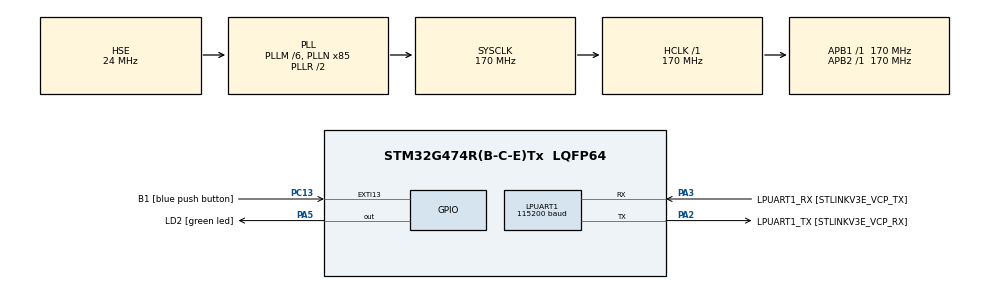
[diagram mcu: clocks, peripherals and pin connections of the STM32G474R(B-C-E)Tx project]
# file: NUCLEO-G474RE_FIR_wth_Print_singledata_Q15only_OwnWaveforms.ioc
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Mcu.Family=STM32G4
RCC.PLLSourceVirtual=RCC_PLLSOURCE_HSE
PC15-OSC32_OUT.Mode=LSE-External-Oscillator
RCC.CortexFreq_Value=170000000
PC13.Signal=GPXTI13
PA14.GPIO_Label=T_SWCLK
LPUART1.WordLength=UART_WORDLENGTH_8B
RCC.EXTERNAL_CLOCK_VALUE=12288000
PC13.GPIO_Label=B1 [blue push button]
PC14-OSC32_IN.Signal=RCC_OSC32_IN
RCC.SYSCLKSource=RCC_SYSCLKSOURCE_PLLCLK
ProjectManager.StackSize=0x400
VP_ARM.CMSIS_VS_CMSISJjDSP_1.8.0_5.7.0.Mode=CMSISJjDSP
PA13.Signal=SYS_JTMS-SWDIO
PA3.Mode=Asynchronous
ProjectManager.TargetToolchain=STM32CubeIDE
ARM.CMSIS.5.7.0.CMSISJjDSP=Library
RCC.HCLKFreq_Value=170000000
RCC.APB2TimFreq_Value=170000000
RCC.USBFreq_Value=170000000
ARM.CMSIS.5.7.0.CMSISJjCORE=true
VP_ARM.CMSIS_VS_CMSISJjCORE_5.4.0_5.7.0.Mode=CMSISJjCORE
PC15-OSC32_OUT.Signal=RCC_OSC32_OUT
RCC.AHBFreq_Value=170000000
PF0-OSC_IN.Mode=HSE-External-Oscillator
NVIC.EXTI15_10_IRQn=true\:0\:0\:false\:false\:true\:true\:true
PA5.Signal=GPIO_Output
RCC.HSE_VALUE=24000000
PB3.Mode=Trace_Asynchronous_SW
board=NUCLEO-G474RE
RCC.VCOOutputFreq_Value=340000000
RCC.ADC12Freq_Value=170000000
RCC.RTCClockSelection=RCC_RTCCLKSOURCE_LSE
RCC.ADC345Freq_Value=170000000
RCC.APB2Freq_Value=170000000
PC14-OSC32_IN.Mode=LSE-External-Oscillator
PA14.Mode=Trace_Asynchronous_SW
VP_SYS_VS_DBSignals.Mode=DisableDeadBatterySignals
PA13.Mode=Trace_Asynchronous_SW
Mcu.Name=STM32G474R(B-C-E)Tx
LPUART1.BaudRate=115200
PA2.Signal=LPUART1_TX
PA13.GPIO_Label=T_SWDIO
PB3.Signal=SYS_JTDO-SWO
RCC.SYSCLKFreq_VALUE=170000000
Mcu.Package=LQFP64
PA5.GPIO_Label=LD2 [green led]
PA2.GPIO_Label=LPUART1_TX [STLINKV3E_VCP_RX]
PA14.Signal=SYS_JTCK-SWCLK
ProjectManager.HeapSize=0x200
RCC.HSI_VALUE=16000000
NVIC.PriorityGroup=NVIC_PRIORITYGROUP_4
RCC.PLLM=RCC_PLLM_DIV6
RCC.PLLN=85
RCC.APB1TimFreq_Value=170000000
PA2.Mode=Asynchronous
PF0-OSC_IN.Signal=RCC_OSC_IN
PF1-OSC_OUT.Mode=HSE-External-Oscillator
RCC.APB1Freq_Value=170000000
PF1-OSC_OUT.Signal=RCC_OSC_OUT
RCC.HSI48_VALUE=48000000
PA3.GPIO_Label=LPUART1_RX [STLINKV3E_VCP_TX]
PA3.Signal=LPUART1_RX
PB3.GPIO_Label=T_SWO

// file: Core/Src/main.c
/* USER CODE BEGIN Header */
/**
  ******************************************************************************
  * @file           : main.c
  * @brief          : Main program body
  ******************************************************************************
  * @attention
  *
  * <h2><center>&copy; Copyright (c) 2021 VictorT Electronics.
  * All rights reserved.</center></h2>
  *
  * This software component is licensed by VT under Ultimate Liberty license
  * SLA0044, the "License"; You may not use this file except in compliance with
  * the License.
  *
  ******************************************************************************
  */
/* USER CODE END Header */
#include "main.h"

/* USER CODE BEGIN Includes */

#include <stdio.h>
//#include <math.h>
#include "arm_math.h"
#include "waveforms.h"

/* USER CODE END Includes */

/* USER CODE BEGIN PTD */

arm_fir_instance_f32 FIR_F32_Struct;

/* USER CODE END PTD */

/* USER CODE BEGIN PD */

#define ARM_MATH_CM4
#define NB_SAMPLES     	64
#define FFT_Length_Tab 	1024
#define SAMPLES		2048 			/* 256 real party and 256 imaginary parts */
#define FFT_INVERSE_FLAG        ((uint8_t)0)
#define FFT_Normal_OUTPUT_FLAG  ((uint8_t)1)

/* USER CODE END PD */

UART_HandleTypeDef hlpuart1;

/* USER CODE BEGIN PV */

// FIRs
uint32_t blockSize = BLOCK_SIZE;
uint32_t numBlocks = TEST_LENGTH_SAMPLES/BLOCK_SIZE;

q31_t aFIR_Q31_1kHz_15kHz[TEST_LENGTH_SAMPLES];
q15_t aFIR_Q15_1kHz_15kHz[TEST_LENGTH_SAMPLES];

float32_t 	aFIR_F32_Output[TEST_LENGTH_SAMPLES];
q15_t 			aFIR_Q15_Output[TEST_LENGTH_SAMPLES];
q31_t 			aFIR_Q31_Output[TEST_LENGTH_SAMPLES];

/* ----------------------------------------------------------------------
** Test input signal contains 1000Hz + 15000 Hz
** ------------------------------------------------------------------- */
float32_t aFIR_F32_1kHz_15kHz[TEST_LENGTH_SAMPLES] =
{
+0.0000000000f, +0.5924659585f, -0.0947343455f, +0.1913417162f, +1.0000000000f, +0.4174197128f, +0.3535533906f, +1.2552931065f,
+0.8660254038f, +0.4619397663f, +1.3194792169f, +1.1827865776f, +0.5000000000f, +1.1827865776f, +1.3194792169f, +0.4619397663f,
+0.8660254038f, +1.2552931065f, +0.3535533906f, +0.4174197128f, +1.0000000000f, +0.1913417162f, -0.0947343455f, +0.5924659585f,
-0.0000000000f, -0.5924659585f, +0.0947343455f, -0.1913417162f, -1.0000000000f, -0.4174197128f, -0.3535533906f, -1.2552931065f,
-0.8660254038f, -0.4619397663f, -1.3194792169f, -1.1827865776f, -0.5000000000f, -1.1827865776f, -1.3194792169f, -0.4619397663f,
-0.8660254038f, -1.2552931065f, -0.3535533906f, -0.4174197128f, -1.0000000000f, -0.1913417162f, +0.0947343455f, -0.5924659585f,
+0.0000000000f, +0.5924659585f, -0.0947343455f, +0.1913417162f, +1.0000000000f, +0.4174197128f, +0.3535533906f, +1.2552931065f,
+0.8660254038f, +0.4619397663f, +1.3194792169f, +1.1827865776f, +0.5000000000f, +1.1827865776f, +1.3194792169f, +0.4619397663f,
+0.8660254038f, +1.2552931065f, +0.3535533906f, +0.4174197128f, +1.0000000000f, +0.1913417162f, -0.0947343455f, +0.5924659585f,
+0.0000000000f, -0.5924659585f, +0.0947343455f, -0.1913417162f, -1.0000000000f, -0.4174197128f, -0.3535533906f, -1.2552931065f,
-0.8660254038f, -0.4619397663f, -1.3194792169f, -1.1827865776f, -0.5000000000f, -1.1827865776f, -1.3194792169f, -0.4619397663f,
-0.8660254038f, -1.2552931065f, -0.3535533906f, -0.4174197128f, -1.0000000000f, -0.1913417162f, +0.0947343455f, -0.5924659585f,
+0.0000000000f, +0.5924659585f, -0.0947343455f, +0.1913417162f, +1.0000000000f, +0.4174197128f, +0.3535533906f, +1.2552931065f,
+0.8660254038f, +0.4619397663f, +1.3194792169f, +1.1827865776f, +0.5000000000f, +1.1827865776f, +1.3194792169f, +0.4619397663f,
+0.8660254038f, +1.2552931065f, +0.3535533906f, +0.4174197128f, +1.0000000000f, +0.1913417162f, -0.0947343455f, +0.5924659585f,
+0.0000000000f, -0.5924659585f, +0.0947343455f, -0.1913417162f, -1.0000000000f, -0.4174197128f, -0.3535533906f, -1.2552931065f,
-0.8660254038f, -0.4619397663f, -1.3194792169f, -1.1827865776f, -0.5000000000f, -1.1827865776f, -1.3194792169f, -0.4619397663f,
-0.8660254038f, -1.2552931065f, -0.3535533906f, -0.4174197128f, -1.0000000000f, -0.1913417162f, +0.0947343455f, -0.5924659585f,
-0.0000000000f, +0.5924659585f, -0.0947343455f, +0.1913417162f, +1.0000000000f, +0.4174197128f, +0.3535533906f, +1.2552931065f,
+0.8660254038f, +0.4619397663f, +1.3194792169f, +1.1827865776f, +0.5000000000f, +1.1827865776f, +1.3194792169f, +0.4619397663f,
+0.8660254038f, +1.2552931065f, +0.3535533906f, +0.4174197128f, +1.0000000000f, +0.1913417162f, -0.0947343455f, +0.5924659585f,
-0.0000000000f, -0.5924659585f, +0.0947343455f, -0.1913417162f, -1.0000000000f, -0.4174197128f, -0.3535533906f, -1.2552931065f,
-0.8660254038f, -0.4619397663f, -1.3194792169f, -1.1827865776f, -0.5000000000f, -1.1827865776f, -1.3194792169f, -0.4619397663f,
-0.8660254038f, -1.2552931065f, -0.3535533906f, -0.4174197128f, -1.0000000000f, -0.1913417162f, +0.0947343455f, -0.5924659585f,
+0.0000000000f, +0.5924659585f, -0.0947343455f, +0.1913417162f, +1.0000000000f, +0.4174197128f, +0.3535533906f, +1.2552931065f,
+0.8660254038f, +0.4619397663f, +1.3194792169f, +1.1827865776f, +0.5000000000f, +1.1827865776f, +1.3194792169f, +0.4619397663f,
+0.8660254038f, +1.2552931065f, +0.3535533906f, +0.4174197128f, +1.0000000000f, +0.1913417162f, -0.0947343455f, +0.5924659585f,
+0.0000000000f, -0.5924659585f, +0.0947343455f, -0.1913417162f, -1.0000000000f, -0.4174197128f, -0.3535533906f, -1.2552931065f,
-0.8660254038f, -0.4619397663f, -1.3194792169f, -1.1827865776f, -0.5000000000f, -1.1827865776f, -1.3194792169f, -0.4619397663f,
-0.8660254038f, -1.2552931065f, -0.3535533906f, -0.4174197128f, -1.0000000000f, -0.1913417162f, +0.0947343455f, -0.5924659585f,
};

/* ----------------------------------------------------------------------
** FIR Coefficients buffer generated using fir1() MATLAB function.
** fir1(28, 6/24)
** ------------------------------------------------------------------- */
float32_t aFIR_F32_Coeffs[NUM_TAPS] = {
-0.0018225230f, -0.0015879294f, +0.0000000000f, +0.0036977508f, +0.0080754303f, +0.0085302217f, -0.0000000000f, -0.0173976984f,
-0.0341458607f, -0.0333591565f, +0.0000000000f, +0.0676308395f, +0.1522061835f, +0.2229246956f, +0.2504960933f, +0.2229246956f,
+0.1522061835f, +0.0676308395f, +0.0000000000f, -0.0333591565f, -0.0341458607f, -0.0173976984f, -0.0000000000f, +0.0085302217f,
+0.0080754303f, +0.0036977508f, +0.0000000000f, -0.0015879294f, -0.0018225230f
};
/* ----------------------------------------------------------------------
** low pass at 1KHz with 40dB at 1.5KHz for SR=16KHz.
** ------------------------------------------------------------------- */

q15_t aFIR_Q15_Coeffs_LP[NUM_FIR_TAPS_Q15] = {
-217	,   40	,  120,  237,  366,  475,  527,  490,  346,
100		, -217	, -548, -818, -947, -864, -522,   86,  922,
1904	, 2918	, 3835, 4529, 4903, 4903, 4529, 3835, 2918,
1904	,  922	,   86, -522, -864, -947, -818, -548, -217,
100		,  346	,  490,  527,  475,  366,  237,  120,   40,
-217	,    0	,    0,    0,    0,    0,    0,    0,    0,
0,    0};
/* ----------------------------------------------------------------------
** high pass at 1.5KHz with 40dB at 1KHz for SR=16KHz
** ------------------------------------------------------------------- */

q15_t aFIR_Q15_Coeffs_HP[NUM_FIR_TAPS_Q15] = {
-654	,  483	,  393,  321,  222,   76, -108, -299, -447,
-501	, -422	, -200,  136,  520,  855, 1032,  953,  558,
-160	,-1148	,-2290,-3432,-4406,-5060,27477,-5060,-4406,
-3432	,-2290	,-1148, -160,  558,  953, 1032,  855,  520,
136		, -200	, -422, -501, -447, -299, -108,   76,  222,
321		,  393	,  483, -654,    0,    0,    0,    0,    0,
0			,    0	,};

/* -------------------------------------------------------------------
 * Declare State buffer of size (numTaps + blockSize - 1)
 * ------------------------------------------------------------------- */
float32_t 	firStateF32[BLOCK_SIZE + NUM_TAPS - 1];
q31_t 			firStateQ31[BLOCK_SIZE + NUM_TAPS - 1];
q15_t 			firStateQ15[NUM_FIR_TAPS_Q15 + BLOCKSIZE];
q31_t 		aFIR_Q31_Coeffs[NUM_TAPS];

// FIRs

//const uint16_t Sine12bit[NB_SAMPLES] =
//  {
//    2047, 2447, 2831, 3185, 3498, 3750, 3939, 4056, 4095, 4056,
//    3939, 3750, 3495, 3185, 2831, 2447, 2047, 1647, 1263, 909,
//    599, 344, 155, 38, 0, 38, 155, 344, 599, 909, 1263, 1647,
//    2047, 2447, 2831, 3185, 3498, 3750, 3939, 4056, 4095, 4056,
//    3939, 3750, 3495, 3185, 2831, 2447, 2047, 1647, 1263, 909,
//    599, 344, 155, 38, 0, 38, 155, 344, 599, 909, 1263, 1647
//  };

float32_t aFFT_Input_f32[FFT_Length_Tab*2];
float32_t aFFT_Output_f32 [FFT_Length_Tab];

float32_t FFT_Input_Q15_f[FFT_Length_Tab*2];
q15_t aFFT_Input_Q15[FFT_Length_Tab*2];
q15_t FFT_Output_Q15[FFT_Length_Tab];

float32_t FFT_Input_Q31_f[FFT_Length_Tab*2];
q31_t aFFT_Input_Q31[FFT_Length_Tab*2];
q31_t FFT_Output_Q31[FFT_Length_Tab];

uint32_t counter_FIR_Q15_p;
arm_fir_instance_q15 FIR_Q15_Struct;

/* USER CODE END PV */

void SystemClock_Config(void);
static void MX_GPIO_Init(void);
static void MX_LPUART1_UART_Init(void);
/* USER CODE BEGIN PFP */

#define PUTCHAR_PROTOTYPE int __io_putchar(int ch)
void FIR_PROCESSING_F32Process(void);
void FIR_PROCESSING_Q15Process_LP(void);
void FIR_PROCESSING_Q15Process_HP(void);
void FIR_PROCESSING_Q31Process(void);
void FFT_PROCESSING_Q15Process(uint32_t FFT_Length);
void FFT_PROCESSING_F32Process(uint32_t FFT_Length);
void FFT_PROCESSING_Q31Process(uint32_t FFT_Length);

/* USER CODE END PFP */

int main(void)
{

  /* MCU Configuration--------------------------------------------------------*/

  /* Reset of all peripherals, Initializes the Flash interface and the Systick. */
  HAL_Init();

  /* Configure the system clock */
  SystemClock_Config();

  /* Initialize all configured peripherals */
  MX_GPIO_Init();
  MX_LPUART1_UART_Init();
  /* USER CODE BEGIN 2 */

  // Test USART1
//  printf("Testing USART1\n");

//  printf("aFIR_F32_Coeffs\n");
//  for (uint16_t Index=0; Index<NUM_TAPS; Index++)
//  {
//    printf("%d %.20f\n",Index, aFIR_F32_Coeffs[Index]);
//  }

//  printf("aFIR_Q15_Coeffs_LP\n");
//  for (uint16_t Index=0; Index<NUM_FIR_TAPS_Q15; Index++)
//  {
//    printf("%d %d\n",Index, aFIR_Q15_Coeffs_LP[Index]);
//  }

//  printf("aFIR_Q15_Coeffs_HP\n");
//  for (uint16_t Index=0; Index<NUM_FIR_TAPS_Q15; Index++)
//  {
//    printf("%d %d\n",Index, aFIR_Q15_Coeffs_HP[Index]);
//  }

//  FIR_PROCESSING_F32Process();
//  printf("aFIR_F32_Output\n");
//  for (uint16_t Index=0; Index<TEST_LENGTH_SAMPLES; Index++)
//  {
//    printf("%d %.20f\n",Index, aFIR_F32_Output[Index]);
//  }

//  FIR_PROCESSING_Q15Process_LP();
//  printf("aFIR_Q15_Output_LP\n");
//  for (uint16_t Index=0; Index<TEST_LENGTH_SAMPLES; Index++)
//  {
//    printf("%d %d\n",Index, aFIR_Q15_Output[Index]);
//  }

//  FIR_PROCESSING_Q15Process_HP();
//  printf("aFIR_Q15_Output_HP\n");
//  for (uint16_t Index=0; Index<TEST_LENGTH_SAMPLES; Index++)
//  {
//    printf("%d %d\n",Index, aFIR_Q15_Output[Index]);
//  }

//  FIR_PROCESSING_Q31Process();
//  printf("aFIR_Q31_Coeffs\n");
//  for (uint16_t Index=0; Index<NUM_TAPS; Index++)
//  {
//    printf("%d %d\n",Index, aFIR_Q31_Coeffs[Index]);
//  }
//  printf("aFIR_Q31_1kHz_15kHz\n");
//  for (uint16_t Index=0; Index<TEST_LENGTH_SAMPLES; Index++)
//  {
//    printf("%d %d\n",Index, aFIR_Q31_Output[Index]);
//  }

//  FFT_PROCESSING_Q15Process(64);
//  FFT_PROCESSING_Q15Process(256);
//  FFT_PROCESSING_Q15Process(1024);
//
//  FFT_PROCESSING_F32Process(64);
//  FFT_PROCESSING_F32Process(256);
//  FFT_PROCESSING_F32Process(1024);
//
//  FFT_PROCESSING_Q31Process(64);
//  FFT_PROCESSING_Q31Process(256);
//  FFT_PROCESSING_Q31Process(1024);

  arm_float_to_q15((float32_t *)&aFIR_F32_1kHz_15kHz[0], (q15_t *)&aFIR_Q15_1kHz_15kHz[0], TEST_LENGTH_SAMPLES);

  arm_fir_init_q15(&FIR_Q15_Struct, NUM_FIR_TAPS_Q15, aFilterCoeffB, firStateQ15, 1);

  q15_t sampling_pt, Q15_FIR_Output;

 for (counter_FIR_Q15_p = 0; counter_FIR_Q15_p < numBlocks; counter_FIR_Q15_p++)
 {   // process with FIR

	sampling_pt = aFIR_Q15_1kHz_15kHz[counter_FIR_Q15_p];

   arm_fir_q15(&FIR_Q15_Struct, &sampling_pt, &Q15_FIR_Output, 1);

   aFIR_Q15_Output[counter_FIR_Q15_p] = Q15_FIR_Output;
 }

 printf("aFIR_Q15_1kHz_15kHz\n");
 for (uint16_t Index = 0; Index < TEST_LENGTH_SAMPLES; Index++)
 {
   printf("%d %d\n",Index, aFIR_Q15_1kHz_15kHz[Index]);
 }

 printf("aFIR_Q15_Coeffs_LP\n");
 for (uint16_t Index = 0; Index < NUM_FIR_TAPS_Q15; Index++)
 {
   printf("%d %d\n",Index, aFIR_Q15_Coeffs_LP[Index]);
 }

 printf("aFIR_Q15_Output_LP @ arm_fir_q15(&FIR_Q15_Struct, &sampling_pt, &aFIR_Q15_Output, BLOCKSIZE); \n");
 for (uint16_t Index = 0; Index < TEST_LENGTH_SAMPLES; Index++)
 {
   printf("%d %d\n",Index, aFIR_Q15_Output[Index]);
 }

  /* USER CODE END 2 */

  /* Infinite loop */
  /* USER CODE BEGIN WHILE */
  while (1)
  {

	  HAL_GPIO_TogglePin(GPIOA, GPIO_PIN_5);
	  HAL_Delay(200);
    /* USER CODE END WHILE */

  }
}

void SystemClock_Config(void)
{
  RCC_OscInitTypeDef RCC_OscInitStruct = {0};
  RCC_ClkInitTypeDef RCC_ClkInitStruct = {0};
  RCC_PeriphCLKInitTypeDef PeriphClkInit = {0};

  /** Configure the main internal regulator output voltage
  */
  HAL_PWREx_ControlVoltageScaling(PWR_REGULATOR_VOLTAGE_SCALE1_BOOST);
  /** Initializes the RCC Oscillators according to the specified parameters
  * in the RCC_OscInitTypeDef structure.
  */
  RCC_OscInitStruct.OscillatorType = RCC_OSCILLATORTYPE_HSE;
  RCC_OscInitStruct.HSEState = RCC_HSE_ON;
  RCC_OscInitStruct.PLL.PLLState = RCC_PLL_ON;
  RCC_OscInitStruct.PLL.PLLSource = RCC_PLLSOURCE_HSE;
  RCC_OscInitStruct.PLL.PLLM = RCC_PLLM_DIV6;
  RCC_OscInitStruct.PLL.PLLN = 85;
  RCC_OscInitStruct.PLL.PLLP = RCC_PLLP_DIV2;
  RCC_OscInitStruct.PLL.PLLQ = RCC_PLLQ_DIV2;
  RCC_OscInitStruct.PLL.PLLR = RCC_PLLR_DIV2;
  if (HAL_RCC_OscConfig(&RCC_OscInitStruct) != HAL_OK)
  {
    Error_Handler();
  }
  /** Initializes the CPU, AHB and APB buses clocks
  */
  RCC_ClkInitStruct.ClockType = RCC_CLOCKTYPE_HCLK|RCC_CLOCKTYPE_SYSCLK
                              |RCC_CLOCKTYPE_PCLK1|RCC_CLOCKTYPE_PCLK2;
  RCC_ClkInitStruct.SYSCLKSource = RCC_SYSCLKSOURCE_PLLCLK;
  RCC_ClkInitStruct.AHBCLKDivider = RCC_SYSCLK_DIV1;
  RCC_ClkInitStruct.APB1CLKDivider = RCC_HCLK_DIV1;
  RCC_ClkInitStruct.APB2CLKDivider = RCC_HCLK_DIV1;

  if (HAL_RCC_ClockConfig(&RCC_ClkInitStruct, FLASH_LATENCY_4) != HAL_OK)
  {
    Error_Handler();
  }
  /** Initializes the peripherals clocks
  */
  PeriphClkInit.PeriphClockSelection = RCC_PERIPHCLK_LPUART1;
  PeriphClkInit.Lpuart1ClockSelection = RCC_LPUART1CLKSOURCE_PCLK1;
  if (HAL_RCCEx_PeriphCLKConfig(&PeriphClkInit) != HAL_OK)
  {
    Error_Handler();
  }
}

static void MX_LPUART1_UART_Init(void)
{

  hlpuart1.Instance = LPUART1;
  hlpuart1.Init.BaudRate = 115200;
  hlpuart1.Init.WordLength = UART_WORDLENGTH_8B;
  hlpuart1.Init.StopBits = UART_STOPBITS_1;
  hlpuart1.Init.Parity = UART_PARITY_NONE;
  hlpuart1.Init.Mode = UART_MODE_TX_RX;
  hlpuart1.Init.HwFlowCtl = UART_HWCONTROL_NONE;
  hlpuart1.Init.OneBitSampling = UART_ONE_BIT_SAMPLE_DISABLE;
  hlpuart1.Init.ClockPrescaler = UART_PRESCALER_DIV1;
  hlpuart1.AdvancedInit.AdvFeatureInit = UART_ADVFEATURE_NO_INIT;
  if (HAL_UART_Init(&hlpuart1) != HAL_OK)
  {
    Error_Handler();
  }
  if (HAL_UARTEx_SetTxFifoThreshold(&hlpuart1, UART_TXFIFO_THRESHOLD_1_8) != HAL_OK)
  {
    Error_Handler();
  }
  if (HAL_UARTEx_SetRxFifoThreshold(&hlpuart1, UART_RXFIFO_THRESHOLD_1_8) != HAL_OK)
  {
    Error_Handler();
  }
  if (HAL_UARTEx_DisableFifoMode(&hlpuart1) != HAL_OK)
  {
    Error_Handler();
  }

}

static void MX_GPIO_Init(void)
{
  GPIO_InitTypeDef GPIO_InitStruct = {0};

  /* GPIO Ports Clock Enable */
  __HAL_RCC_GPIOC_CLK_ENABLE();
  __HAL_RCC_GPIOF_CLK_ENABLE();
  __HAL_RCC_GPIOA_CLK_ENABLE();
  __HAL_RCC_GPIOB_CLK_ENABLE();

  /*Configure GPIO pin Output Level */
  HAL_GPIO_WritePin(LD2_GPIO_Port, LD2_Pin, GPIO_PIN_RESET);

  /*Configure GPIO pin : B1_Pin */
  GPIO_InitStruct.Pin = B1_Pin;
  GPIO_InitStruct.Mode = GPIO_MODE_IT_RISING;
  GPIO_InitStruct.Pull = GPIO_NOPULL;
  HAL_GPIO_Init(B1_GPIO_Port, &GPIO_InitStruct);

  /*Configure GPIO pin : LD2_Pin */
  GPIO_InitStruct.Pin = LD2_Pin;
  GPIO_InitStruct.Mode = GPIO_MODE_OUTPUT_PP;
  GPIO_InitStruct.Pull = GPIO_NOPULL;
  GPIO_InitStruct.Speed = GPIO_SPEED_FREQ_LOW;
  HAL_GPIO_Init(LD2_GPIO_Port, &GPIO_InitStruct);

  /* EXTI interrupt init*/
  HAL_NVIC_SetPriority(EXTI15_10_IRQn, 0, 0);
  HAL_NVIC_EnableIRQ(EXTI15_10_IRQn);

}

/* USER CODE BEGIN 4 */

PUTCHAR_PROTOTYPE
{
  /* Place your implementation of fputc here */
  /* e.g. write a character to the LPUART1 and Loop until the end of transmission */
  HAL_UART_Transmit(&hlpuart1, (uint8_t *)&ch, 1, 0xFFFF);

  return ch;
}

/**
  * @brief  This function apply a LP FIR filter in to a F32 data signal.
  * @param  None
  * @retval None
  */
void FIR_PROCESSING_F32Process(void)
{

  arm_fir_instance_f32 FIR_F32_Struct;
  uint32_t counter_FIR_f32_p;
//  static int counter_FIR_Ds;
//  static int counter_FIR_Dd;
//  int DataID = 1;
//  uint32_t duration_us = 0x00;
  /* Call FIR init function to initialize the instance structure. */
  arm_fir_init_f32(&FIR_F32_Struct, NUM_TAPS, (float32_t *)&aFIR_F32_Coeffs[0], &firStateF32[0], blockSize);

  /* Call the FIR process function for every blockSize samples */
//  TimerCount_Start();

  for (counter_FIR_f32_p = 0; counter_FIR_f32_p < numBlocks; counter_FIR_f32_p++)
  {
    arm_fir_f32(&FIR_F32_Struct, aFIR_F32_1kHz_15kHz + (counter_FIR_f32_p * blockSize), aFIR_F32_Output + (counter_FIR_f32_p * blockSize), blockSize);
  }

  printf("aFIR_F32_1kHz_15kHz\n");
  for (uint16_t Index  =0; Index < TEST_LENGTH_SAMPLES; Index++)
  {
    printf("%d %.20f\n",Index, aFIR_F32_1kHz_15kHz[Index]);
  }

  printf("aFIR_F32_Coeffs\n");
  for (uint16_t Index = 0; Index < NUM_TAPS; Index++)
  {
    printf("%d %.20f\n",Index, aFIR_F32_Coeffs[Index]);
  }

  printf("aFIR_F32_Output\n");
  for (uint16_t Index = 0; Index < TEST_LENGTH_SAMPLES; Index++)
  {
    printf("%d %.20f\n",Index, aFIR_F32_Output[Index]);
  }

//  TimerCount_Stop(nb_cycles);

//  GUI_Clear();
//  LCD_OUTPUT_Cycles(5, 305, nb_cycles);
//  duration_us = (uint32_t)(((uint64_t)US_IN_SECOND * (nb_cycles)) / SystemCoreClock);
//  LCD_OUTPUT_DURATION(120, 305, duration_us);

//  GUI_USE_PARA(DataID);

//  GRAPH_DATA_YT_AddValue(aGraph_Data[1], (aFIR_F32_1kHz_15kHz[counter_FIR_Dd])*25 + 100);
//  if (++counter_FIR_Dd == GUI_COUNTOF(aFIR_F32_1kHz_15kHz))
//  {
//    counter_FIR_Dd = 0;
//  }
//
//  GRAPH_DATA_YT_AddValue(aGraph_Data[0], (aFIR_F32_Output[counter_FIR_Ds])*20 + 50);
//  if (++counter_FIR_Ds == GUI_COUNTOF(aFIR_F32_Output))
//  {
//    counter_FIR_Ds = 0;
//  }
}

/**
  * @brief  This function apply a LP/HP FIR filter in to a Q15 data signal.
  * @param  LP or HP
  * @retval None
  */
void FIR_PROCESSING_Q15Process_LP(void)
{
  uint32_t counter_FIR_Q15_p;
  arm_fir_instance_q15 FIR_Q15_Struct;

//  static int counter_FIR_Ds;
//  static int counter_FIR_Dd;
//  int DataID = 1;
//  uint32_t duration_us = 0x00;
  arm_float_to_q15((float32_t *)&aFIR_F32_1kHz_15kHz[0], (q15_t *)&aFIR_Q15_1kHz_15kHz[0], TEST_LENGTH_SAMPLES);
  /* Call FIR init function to initialize the instance structure. */
//  if (LP_or_HP == LPF)
//  {
    arm_fir_init_q15(&FIR_Q15_Struct, NUM_FIR_TAPS_Q15, aFIR_Q15_Coeffs_LP, firStateQ15, BLOCKSIZE);
//  }
//  else if (LP_or_HP == HPF)
//  {
//    arm_fir_init_q15(&FIR_Q15_Struct, NUM_FIR_TAPS_Q15, aFIR_Q15_Coeffs_HP, firStateQ15, BLOCKSIZE);
//  }
//  else
//  {/* empty else */
//  }
//  TimerCount_Start();

//  for (counter_FIR_Q15_p = 0; counter_FIR_Q15_p < numBlocks; counter_FIR_Q15_p++)
//  {   // process with FIR
//    arm_fir_q15(&FIR_Q15_Struct, aFIR_Q15_1kHz_15kHz + (counter_FIR_Q15_p * BLOCKSIZE), aFIR_Q15_Output + (counter_FIR_Q15_p * BLOCKSIZE), BLOCKSIZE);
//  }

    q15_t sampling_pt, Q15_FIR_Output;

  for (counter_FIR_Q15_p = 0; counter_FIR_Q15_p < numBlocks; counter_FIR_Q15_p++)
  {   // process with FIR

	sampling_pt = aFIR_Q15_1kHz_15kHz[counter_FIR_Q15_p];

    arm_fir_q15(&FIR_Q15_Struct, &sampling_pt, &Q15_FIR_Output, BLOCKSIZE);

    aFIR_Q15_Output[counter_FIR_Q15_p] = Q15_FIR_Output;
  }

  printf("aFIR_Q15_1kHz_15kHz\n");
  for (uint16_t Index = 0; Index < TEST_LENGTH_SAMPLES; Index++)
  {
    printf("%d %d\n",Index, aFIR_Q15_1kHz_15kHz[Index]);
  }

  printf("aFIR_Q15_Coeffs_LP\n");
  for (uint16_t Index = 0; Index < NUM_FIR_TAPS_Q15; Index++)
  {
    printf("%d %d\n",Index, aFIR_Q15_Coeffs_LP[Index]);
  }

  printf("aFIR_Q15_Output_LP @ arm_fir_q15(&FIR_Q15_Struct, &sampling_pt, &aFIR_Q15_Output, BLOCKSIZE); \n");
  for (uint16_t Index = 0; Index < TEST_LENGTH_SAMPLES; Index++)
  {
    printf("%d %d\n",Index, aFIR_Q15_Output[Index]);
  }

//  TimerCount_Stop(nb_cycles);
//
//  GUI_Clear();
//  LCD_OUTPUT_Cycles(5, 305, nb_cycles);
//  duration_us = (uint32_t)(((uint64_t)US_IN_SECOND * (nb_cycles)) / SystemCoreClock);
//  LCD_OUTPUT_DURATION(120, 305, duration_us);
//
//  GUI_USE_PARA(DataID);
//
//  GRAPH_DATA_YT_AddValue(aGraph_Data[1], (aFIR_Q15_1kHz_15kHz[counter_FIR_Dd] / 1000) + 100);
//  if (++counter_FIR_Dd == GUI_COUNTOF(aFIR_Q15_1kHz_15kHz))
//  {
//    counter_FIR_Dd = 0;
//  }
//
//  GRAPH_DATA_YT_AddValue(aGraph_Data[0], aFIR_Q15_Output[counter_FIR_Ds] / 1350 + 50);
//  if (++counter_FIR_Ds == GUI_COUNTOF(aFIR_Q15_Output))
//  {
//    counter_FIR_Ds = 0;
//  }
}

void FIR_PROCESSING_Q15Process_HP(void)
{
  uint32_t counter_FIR_Q15_p;
  arm_fir_instance_q15 FIR_Q15_Struct;

//  static int counter_FIR_Ds;
//  static int counter_FIR_Dd;
//  int DataID = 1;
//  uint32_t duration_us = 0x00;
//  arm_float_to_q15((float32_t *)&aFIR_F32_1kHz_15kHz[0], (q15_t *)&aFIR_Q15_1kHz_15kHz[0], TEST_LENGTH_SAMPLES); // not needed as already done in FIR_PROCESSING_Q15Process_LP
  /* Call FIR init function to initialize the instance structure. */
//  if (LP_or_HP == LPF)
//  {
//    arm_fir_init_q15(&FIR_Q15_Struct, NUM_FIR_TAPS_Q15, aFIR_Q15_Coeffs_LP, firStateQ15, BLOCKSIZE);
//  }
//  else if (LP_or_HP == HPF)
//  {
    arm_fir_init_q15(&FIR_Q15_Struct, NUM_FIR_TAPS_Q15, aFIR_Q15_Coeffs_HP, firStateQ15, BLOCKSIZE);
//  }
//  else
//  {/* empty else */
//  }
//  TimerCount_Start();
  for (counter_FIR_Q15_p = 0; counter_FIR_Q15_p < numBlocks; counter_FIR_Q15_p++)
  {   // process with FIR
    arm_fir_q15(&FIR_Q15_Struct, aFIR_Q15_1kHz_15kHz + (counter_FIR_Q15_p * BLOCKSIZE), aFIR_Q15_Output + (counter_FIR_Q15_p * BLOCKSIZE), BLOCKSIZE);
  }

  printf("aFIR_Q15_Coeffs_HP\n");
  for (uint16_t Index = 0; Index < NUM_FIR_TAPS_Q15; Index++)
  {
    printf("%d %d\n",Index, aFIR_Q15_Coeffs_HP[Index]);
  }

  printf("aFIR_Q15_Output_HP\n");
  for (uint16_t Index = 0; Index < TEST_LENGTH_SAMPLES; Index++)
  {
    printf("%d %d\n",Index, aFIR_Q15_Output[Index]);
  }

//  TimerCount_Stop(nb_cycles);
//
//  GUI_Clear();
//  LCD_OUTPUT_Cycles(5, 305, nb_cycles);
//  duration_us = (uint32_t)(((uint64_t)US_IN_SECOND * (nb_cycles)) / SystemCoreClock);
//  LCD_OUTPUT_DURATION(120, 305, duration_us);
//
//  GUI_USE_PARA(DataID);
//
//  GRAPH_DATA_YT_AddValue(aGraph_Data[1], (aFIR_Q15_1kHz_15kHz[counter_FIR_Dd] / 1000) + 100);
//  if (++counter_FIR_Dd == GUI_COUNTOF(aFIR_Q15_1kHz_15kHz))
//  {
//    counter_FIR_Dd = 0;
//  }
//
//  GRAPH_DATA_YT_AddValue(aGraph_Data[0], aFIR_Q15_Output[counter_FIR_Ds] / 1350 + 50);
//  if (++counter_FIR_Ds == GUI_COUNTOF(aFIR_Q15_Output))
//  {
//    counter_FIR_Ds = 0;
//  }
}

/**
  * @brief  This function apply a LP FIR filter in to a Q31 data signal.
  * @param  None
  * @retval None
  */
void FIR_PROCESSING_Q31Process(void)
{
  uint32_t counter_FIR_Q31_p;
  arm_fir_instance_q31 FIR_Q31_Struct;

//  static int counter_FIR_Ds;
//  static int counter_FIR_Dd;
//  int DataID = 1;
//  uint32_t duration_us = 0x00;
  arm_float_to_q31((float32_t *)&aFIR_F32_Coeffs[0], (q31_t *)&aFIR_Q31_Coeffs[0], NUM_TAPS);

  arm_float_to_q31((float32_t *)&aFIR_F32_1kHz_15kHz[0], (q31_t *)&aFIR_Q31_1kHz_15kHz[0], TEST_LENGTH_SAMPLES);
  /* Call FIR init function to initialize the instance structure. */
  arm_fir_init_q31(&FIR_Q31_Struct, NUM_TAPS, (q31_t *)&aFIR_Q31_Coeffs[0], &firStateQ31[0], blockSize);

  /* Call the FIR process function for every blockSize samples  */
//  TimerCount_Start();

  for (counter_FIR_Q31_p = 0; counter_FIR_Q31_p < numBlocks; counter_FIR_Q31_p++)
  {
    arm_fir_q31(&FIR_Q31_Struct, aFIR_Q31_1kHz_15kHz + (counter_FIR_Q31_p * blockSize), aFIR_Q31_Output + (counter_FIR_Q31_p * blockSize), blockSize);
  }

  printf("aFIR_Q31_1kHz_15kHz\n");
  for (uint16_t Index = 0; Index < TEST_LENGTH_SAMPLES; Index++)
  {
    printf("%d %d\n",Index, aFIR_Q31_1kHz_15kHz[Index]);
  }

  printf("aFIR_Q31_Coeffs\n");
  for (uint16_t Index = 0; Index < NUM_TAPS; Index++)
  {
    printf("%d %d\n",Index, aFIR_Q31_Coeffs[Index]);
  }

  printf("aFIR_Q31_Output\n");
  for (uint16_t Index = 0; Index < TEST_LENGTH_SAMPLES; Index++)
  {
    printf("%d %d\n",Index, aFIR_Q31_Output[Index]);
  }

//  TimerCount_Stop(nb_cycles);
//
//  GUI_Clear();
//  LCD_OUTPUT_Cycles(5, 305, nb_cycles);
//  duration_us = (uint32_t)(((uint64_t)US_IN_SECOND * (nb_cycles)) / SystemCoreClock);
//  LCD_OUTPUT_DURATION(120, 305, duration_us);
//
//  GUI_USE_PARA(DataID);
//
//  GRAPH_DATA_YT_AddValue(aGraph_Data[1], (aFIR_Q31_1kHz_15kHz[counter_FIR_Dd]) / 60092980 + 100);
//  if (++counter_FIR_Dd == GUI_COUNTOF(aFIR_Q31_1kHz_15kHz))
//  {
//    counter_FIR_Dd = 0;
//  }
//
//  GRAPH_DATA_YT_AddValue(aGraph_Data[0], aFIR_Q31_Output[counter_FIR_Ds] / 90139470 + 50);
//  if (++counter_FIR_Ds == GUI_COUNTOF(aFIR_Q31_Output))
//  {
//    counter_FIR_Ds = 0;
//  }
}

/**
  * @brief  This function Calculate FFT in Q15.
  * @param  FFT Length : 1024, 256, 64
  * @retval None
  */
void FFT_PROCESSING_Q15Process(uint32_t FFT_Length)
{

  arm_cfft_radix4_instance_q15  FFT_Q15_struct;

  q15_t maxValue;    /* Max FFT value is stored here */
  uint32_t maxIndex;    /* Index in Output array where max value is */

  uint16_t uhADCxConvertedValue = 0; // VT, simulated ADC reading but taken from DAC data Sine12bit
  uint16_t aADC1ConvertedValue_s [SAMPLES]; // VT, simulated ADC reading array but taken from DAC data Sine12bit

  uint32_t index_fill_input_buffer, index_fill_output_buffer, index_fill_adc_buffer = 0;
//  uint32_t duration_us = 0x00;

  for (index_fill_adc_buffer = 0; index_fill_adc_buffer < FFT_Length*2; index_fill_adc_buffer ++)
  {
	  uhADCxConvertedValue = Sine12bit[(index_fill_adc_buffer + NB_SAMPLES) % NB_SAMPLES]; // simulated adc reading from DAC data
    aADC1ConvertedValue_s[index_fill_adc_buffer] = uhADCxConvertedValue; // orig
//    TIM2_Config();
  }

  uint32_t cntr = 0;
  for (index_fill_input_buffer = 0; index_fill_input_buffer < FFT_Length*2; index_fill_input_buffer += 2)
  {
	  FFT_Input_Q15_f[(uint16_t)index_fill_input_buffer] = (float32_t)aADC1ConvertedValue_s[cntr++] / (float32_t)4096.0; // works alone, below 2 lines should be commented
//	  uhADCxConvertedValue = Sine12bit[((cntr++) + NB_SAMPLES) % NB_SAMPLES]; // simulated adc reading from DAC data, works together with below. Above line should be commented
//    FFT_Input_Q15_f[(uint16_t)index_fill_input_buffer] = (float32_t)uhADCxConvertedValue / (float32_t)4096.0; // orig
    /* Imaginary part */
    FFT_Input_Q15_f[(uint16_t)(index_fill_input_buffer + 1)] = 0;

//    TIM2_Config();
  }

  arm_float_to_q15((float32_t *)&FFT_Input_Q15_f[0], (q15_t *)&aFFT_Input_Q15[0], FFT_Length*2);

  /* Initialize the CFFT/CIFFT module, intFlag = 0, doBitReverse = 1 */
  arm_cfft_radix4_init_q15(&FFT_Q15_struct, FFT_Length, FFT_INVERSE_FLAG, FFT_Normal_OUTPUT_FLAG);

//  TimerCount_Start();
  arm_cfft_radix4_q15(&FFT_Q15_struct, aFFT_Input_Q15); // this will change the contents of aFFT_Input_Q15
//  TimerCount_Stop(nb_cycles);

//  combine arm_cfft_radix4_init_q15 and arm_cfft_radix4_q15 to this function (below)
//  void arm_cfft_q15	( const arm_cfft_instance_q15 * 	S,
//	  q15_t * 	p1,
//	  uint8_t 	ifftFlag,
//	  uint8_t 	bitReverseFlag
//  )
//  Parameters
//	  [in]	S	points to an instance of Q15 CFFT structure
//	  [in,out]	p1	points to the complex data buffer of size 2*fftLen. Processing occurs in-place
//	  [in]	ifftFlag	flag that selects transform direction
//		  value = 0: forward transform
//		  value = 1: inverse transform
//	  [in]	bitReverseFlag	flag that enables / disables bit reversal of output
//		  value = 0: disables bit reversal of output
//		  value = 1: enables bit reversal of output
//  Returns none

//  GUI_Clear();
//  LCD_OUTPUT_Cycles(5, 305, nb_cycles);
//  duration_us = (uint32_t)(((uint64_t)US_IN_SECOND * (nb_cycles)) / SystemCoreClock);
//  LCD_OUTPUT_DURATION(120, 305, duration_us);

  /* Process the data through the Complex Magniture Module for calculating the magnitude at each bin */
  arm_cmplx_mag_q15(aFFT_Input_Q15, FFT_Output_Q15, FFT_Length);

  /* Calculates maxValue and returns corresponding value */
  arm_max_q15(FFT_Output_Q15, FFT_Length, &maxValue, &maxIndex);
  maxValue = 0;

//  for (index_fill_input_buffer = 0; index_fill_input_buffer < FFT_Length*2; index_fill_input_buffer++)
//  {
//    GRAPH_DATA_YT_SetAlign(aGraph_Data[1], GRAPH_ALIGN_LEFT);
//    GRAPH_DATA_YT_MirrorX (aGraph_Data[1], 1);
//    GRAPH_DATA_YT_AddValue(aGraph_Data[1], aADC1ConvertedValue_s[index_fill_input_buffer] / 100 + 50);
//  }
//  for (index_fill_output_buffer = 0; index_fill_output_buffer < FFT_Length; index_fill_output_buffer++)
//  {
//    GRAPH_DATA_YT_SetAlign(aGraph_Data[0], GRAPH_ALIGN_LEFT);
//    GRAPH_DATA_YT_MirrorX (aGraph_Data[0], 1);
//    GRAPH_DATA_YT_AddValue(aGraph_Data[0], FFT_Output_Q15[index_fill_output_buffer] / 50 + 10);
//
//  }

  printf("FFT_PROCESSING_Q15Process %d samples\n", FFT_Length);
  for (uint16_t Index = 0; Index < FFT_Length*2; Index++)
  {
    printf("%d %d\n",Index, aADC1ConvertedValue_s[Index]);
  }

//  printf("FFT_Input_Q15_f\n");
//  for (uint16_t Index = 0; Index < FFT_Length*2; Index++)
//  {
//    printf("%d %.20f\n",Index, FFT_Input_Q15_f[Index]); // FFT_Input_Q15_f is float
//  }
//
//  printf("aFFT_Input_Q15\n");
//  for (uint16_t Index = 0; Index < FFT_Length*2; Index++)
//  {
//    printf("%d %d\n",Index, aFFT_Input_Q15[Index]);
//  }

  printf("FFT_Output_Q15\n");
  for (uint16_t Index = 0; Index < FFT_Length; Index++)
  {
    printf("%d %d\n",Index, FFT_Output_Q15[Index]);
  }

}

/**
  * @brief  This function Calculate FFT in F32.
  * @param  FFT Length : 1024, 256, 64
  * @retval None
  */
void FFT_PROCESSING_F32Process(uint32_t FFT_Length)
{
  arm_cfft_radix4_instance_f32  FFT_F32_struct;

  float32_t maxValue;    /* Max FFT value is stored here */
  uint32_t maxIndex;    /* Index in Output array where max value is */

  uint16_t uhADCxConvertedValue = 0; // VT, simulated ADC reading but taken from DAC data Sine12bit
  uint16_t aADC1ConvertedValue_s [SAMPLES]; // VT, simulated ADC reading array but taken from DAC data Sine12bit

  uint32_t index_fill_input_buffer, index_fill_output_buffer, index_fill_adc_buffer = 0;
//  uint32_t duration_us = 0x00;

  for (index_fill_adc_buffer = 0; index_fill_adc_buffer < FFT_Length*2; index_fill_adc_buffer ++)
  {
	  uhADCxConvertedValue = Sine12bit[(index_fill_adc_buffer + NB_SAMPLES) % NB_SAMPLES];
    aADC1ConvertedValue_s[index_fill_adc_buffer] = uhADCxConvertedValue; // orig
//    TIM2_Config();
  }

  uint32_t cntr = 0;
  for (index_fill_input_buffer = 0; index_fill_input_buffer < FFT_Length*2; index_fill_input_buffer += 2)
  {
//	  aFFT_Input_f32[(uint16_t)index_fill_input_buffer] = (float32_t)aADC1ConvertedValue_s[cntr++] / (float32_t)4096.0; // works alone, below 2 lines should be commented
	  uhADCxConvertedValue = Sine12bit[((cntr++) + NB_SAMPLES) % NB_SAMPLES]; // simulated adc reading from DAC data, works together with below. Above line should be commented
    aFFT_Input_f32[(uint16_t)index_fill_input_buffer] = (float32_t)uhADCxConvertedValue / (float32_t)4096.0; // orig
    /* Imaginary part */
    aFFT_Input_f32[(uint16_t)(index_fill_input_buffer + 1)] = 0;
//    TIM2_Config();
  }

//  printf("aFFT_Input_f32\n");
//  for (uint16_t Index = 0; Index < FFT_Length*2; Index++)
//  {
//    printf("%d %.20f\n",Index, aFFT_Input_f32[Index]);
//  }

  /* Initialize the CFFT/CIFFT module, intFlag = 0, doBitReverse = 1 */
  arm_cfft_radix4_init_f32(&FFT_F32_struct, FFT_Length, FFT_INVERSE_FLAG, FFT_Normal_OUTPUT_FLAG);

//  TimerCount_Start();
  arm_cfft_radix4_f32(&FFT_F32_struct, aFFT_Input_f32);
//  TimerCount_Stop(nb_cycles);

//  combine arm_cfft_radix4_init_f32 and arm_cfft_radix4_f32 to this function (below)
//  void arm_cfft_f32	(const arm_cfft_instance_f32 * 	S,
//  float32_t * 	p1,
//  uint8_t 	ifftFlag,
//  uint8_t 	bitReverseFlag
//  )
//  Parameters
//	  [in]	S	points to an instance of the floating-point CFFT structure
//	  [in,out]	p1	points to the complex data buffer of size 2*fftLen. Processing occurs in-place
//	  [in]	ifftFlag	flag that selects transform direction
//		  value = 0: forward transform
//		  value = 1: inverse transform
//	  [in]	bitReverseFlag	flag that enables / disables bit reversal of output
//		  value = 0: disables bit reversal of output
//		  value = 1: enables bit reversal of output
//  Returns none

//  GUI_Clear();
//  LCD_OUTPUT_Cycles(5, 305, nb_cycles);
//  duration_us = (uint32_t)(((uint64_t)US_IN_SECOND * (nb_cycles)) / SystemCoreClock);
//  LCD_OUTPUT_DURATION(120, 305, duration_us);

  /* Process the data through the Complex Magniture Module for calculating the magnitude at each bin */
  arm_cmplx_mag_f32(aFFT_Input_f32, aFFT_Output_f32, FFT_Length);

  /* Calculates maxValue and returns corresponding value */
  arm_max_f32(aFFT_Output_f32, FFT_Length, &maxValue, &maxIndex);
  maxValue = 0;

//  for (index_fill_input_buffer = 0; index_fill_input_buffer < FFT_Length*2; index_fill_input_buffer++)
//  {
//    GRAPH_DATA_YT_SetAlign(aGraph_Data[1], GRAPH_ALIGN_LEFT);
//    GRAPH_DATA_YT_MirrorX (aGraph_Data[1], 1);
//    GRAPH_DATA_YT_AddValue(aGraph_Data[1], aADC1ConvertedValue_s[index_fill_input_buffer] / 50 + 50);
//  }
//  for (index_fill_output_buffer = 0; index_fill_output_buffer < FFT_Length; index_fill_output_buffer++)
//  {
//    GRAPH_DATA_YT_SetAlign(aGraph_Data[0], GRAPH_ALIGN_LEFT);
//    GRAPH_DATA_YT_MirrorX (aGraph_Data[0], 1);
//    GRAPH_DATA_YT_AddValue(aGraph_Data[0], aFFT_Output_f32[index_fill_output_buffer] + 10);
//  }

//  printf("FFT_PROCESSING_F32Process %d samples\n", FFT_Length);
//  for (uint16_t Index = 0; Index < FFT_Length*2; Index++)
//  {
//    printf("%d %d\n",Index, aADC1ConvertedValue_s[Index]);
//  }

//  printf("aFFT_Input_f32\n");
//  for (uint16_t Index = 0; Index < FFT_Length*2; Index++)
//  {
//    printf("%d %.20f\n",Index, aFFT_Input_f32[Index]);
//  }

  printf("aFFT_Output_f32\n");
  for (uint16_t Index = 0; Index < FFT_Length*2; Index++)
  {
    printf("%d %.20f\n",Index, aFFT_Output_f32[Index]);
  }

}

/**
  * @brief  This function Calculate FFT in Q31.
  * @param  FFT Length : 1024, 256, 64
  * @retval None
  */
void FFT_PROCESSING_Q31Process(uint32_t FFT_Length)
{
  arm_cfft_radix4_instance_q31  FFT_Q31_struct;

  q31_t maxValue;    /* Max FFT value is stored here */
  uint32_t maxIndex;    /* Index in Output array where max value is */

  uint16_t uhADCxConvertedValue = 0; // VT, simulated ADC reading but taken from DAC data Sine12bit
  uint16_t aADC1ConvertedValue_s [SAMPLES]; // VT, simulated ADC reading array but taken from DAC data Sine12bit

  uint32_t index_fill_input_buffer, index_fill_output_buffer, index_fill_adc_buffer = 0;
//  uint32_t duration_us = 0x00;

  for (index_fill_adc_buffer = 0; index_fill_adc_buffer < FFT_Length*2; index_fill_adc_buffer ++)
  {
	  uhADCxConvertedValue = Sine12bit[(index_fill_adc_buffer + NB_SAMPLES) % NB_SAMPLES];
    aADC1ConvertedValue_s[index_fill_adc_buffer] = uhADCxConvertedValue;
//    TIM2_Config();
  }

  uint32_t cntr = 0;
  for (index_fill_input_buffer = 0; index_fill_input_buffer < FFT_Length*2; index_fill_input_buffer += 2)
  {
	  uhADCxConvertedValue = Sine12bit[((cntr++) + NB_SAMPLES) % NB_SAMPLES];
    FFT_Input_Q31_f[(uint16_t)index_fill_input_buffer] = (float32_t)uhADCxConvertedValue / (float32_t)4096.0;
    /* Imaginary part */
    FFT_Input_Q31_f[(uint16_t)(index_fill_input_buffer + 1)] = 0;

//    TIM2_Config();
  }

  arm_float_to_q31((float32_t *)&FFT_Input_Q31_f[0], (q31_t *)&aFFT_Input_Q31[0], FFT_Length*2);

  /* Initialize the CFFT/CIFFT module, intFlag = 0, doBitReverse = 1 */
  arm_cfft_radix4_init_q31(&FFT_Q31_struct, FFT_Length, FFT_INVERSE_FLAG, FFT_Normal_OUTPUT_FLAG);

//  TimerCount_Start();
  arm_cfft_radix4_q31(&FFT_Q31_struct, aFFT_Input_Q31);
//  TimerCount_Stop(nb_cycles);

//  GUI_Clear();
//  LCD_OUTPUT_Cycles(5, 305, nb_cycles);
//  duration_us = (uint32_t)(((uint64_t)US_IN_SECOND * (nb_cycles)) / SystemCoreClock);
//  LCD_OUTPUT_DURATION(120, 305, duration_us);

  /* Process the data through the Complex Magniture Module for calculating the magnitude at each bin */
  arm_cmplx_mag_q31(aFFT_Input_Q31, FFT_Output_Q31, FFT_Length);

  /* Calculates maxValue and returns corresponding value */
  arm_max_q31(FFT_Output_Q31, FFT_Length, &maxValue, &maxIndex);
  maxValue = 0;

//  for (index_fill_input_buffer = 0; index_fill_input_buffer < FFT_Length*2; index_fill_input_buffer++)
//  {
//    GRAPH_DATA_YT_SetAlign(aGraph_Data[1], GRAPH_ALIGN_LEFT);
//    GRAPH_DATA_YT_MirrorX (aGraph_Data[1], 1);
//    GRAPH_DATA_YT_AddValue(aGraph_Data[1], aADC1ConvertedValue_s[index_fill_input_buffer] / 50 + 50);
//  }
//  for (index_fill_output_buffer = 0; index_fill_output_buffer < FFT_Length; index_fill_output_buffer++)
//  {
//    GRAPH_DATA_YT_SetAlign(aGraph_Data[0], GRAPH_ALIGN_LEFT);
//    GRAPH_DATA_YT_MirrorX (aGraph_Data[0], 1);
//    GRAPH_DATA_YT_AddValue(aGraph_Data[0], FFT_Output_Q31[index_fill_output_buffer] / 5376212 + 10);
//
//  }

//  printf("FFT_PROCESSING_Q31Process %d samples\n", FFT_Length);
//  for (uint16_t Index = 0; Index < FFT_Length*2; Index++)
//  {
//    printf("%d %d\n",Index, aADC1ConvertedValue_s[Index]);
//  }
//
//    printf("FFT_Input_Q31_f\n");
//    for (uint16_t Index = 0; Index < FFT_Length*2; Index++)
//    {
//      printf("%d %.20f\n",Index, FFT_Input_Q31_f[Index]); // FFT_Input_Q15_f is float
//    }
//
//    printf("aFFT_Input_Q31\n");
//    for (uint16_t Index = 0; Index < FFT_Length*2; Index++)
//    {
//      printf("%d %d\n",Index, aFFT_Input_Q31[Index]);
//    }

  printf("FFT_Output_Q31\n");
  for (uint16_t Index = 0; Index < FFT_Length; Index++)
  {
    printf("%d %d\n",Index, FFT_Output_Q31[Index]);
  }

}

/* USER CODE END 4 */

void Error_Handler(void)
{
  __disable_irq();
  while (1)
  {
  }
}

/************************ (C) COPYRIGHT STMicroelectronics *****END OF FILE****/
